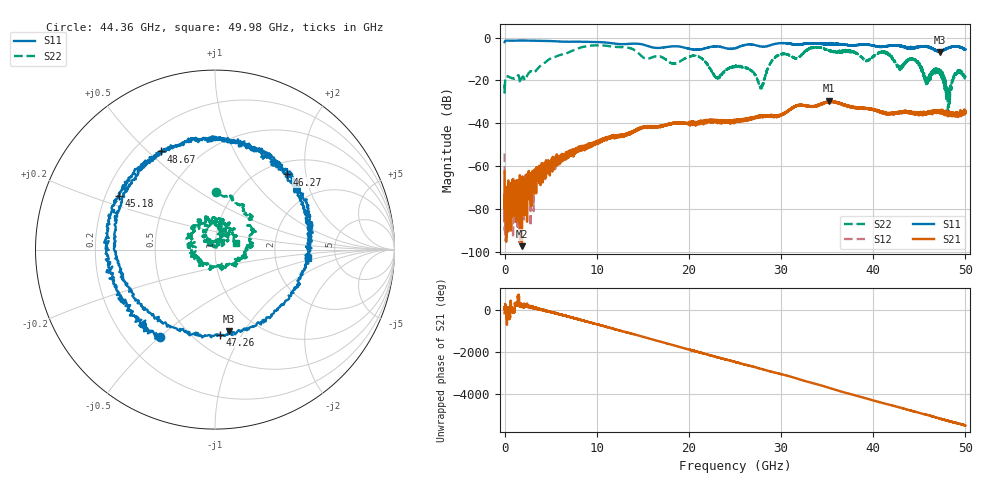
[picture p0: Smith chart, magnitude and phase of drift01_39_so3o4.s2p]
!Created with skrf (http://scikit-rf.org).
# Hz S RI R 50.0
!freq ReS11 ImS11 ReS21 ImS21 ReS12 ImS12 ReS22 ImS22
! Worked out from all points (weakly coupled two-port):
!   10001 points, 300 kHz to 50 GHz, reference 50 ohm
!   highest |S21| = -29.35 dB at 35.23 GHz (marker M1); lowest = -97.1 dB at 1.88 GHz (marker M2)
!   lowest |S11| = -6.7 dB at 47.23 GHz (marker M3), VSWR 2.72, Z = 37 - j43 ohm
!   |S11| at or under -10 dB: nowhere
!   |S22| runs from -37.1 to -3.6 dB; largest |S21 - S12| = 0.0049
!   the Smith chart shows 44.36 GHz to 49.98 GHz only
!   S11 on the Smith chart (normalised r, x): 44.36 GHz: 0.35, -0.50; 45.18 GHz: 0.25, +0.24; 46.27 GHz: 1.24, +1.57; 47.26 GHz: 0.66, -0.81; 48.67 GHz: 0.31, +0.55; 49.98 GHz: 3.09, -0.39
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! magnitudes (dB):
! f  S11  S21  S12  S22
! 300 kHz  -2.1  -62.3  -53.9  -21.9
! 255.3 MHz  -1.4  -81.5  -77.4  -18.0
! 1.88 GHz  -1.4  -97.1  -72.9  -18.7
! 8.335 GHz  -2.0  -50.7  -50.9  -4.6
! 16.67 GHz  -4.8  -41.6  -41.4  -8.7
! 20.96 GHz  -5.6  -40.0  -39.5  -8.7
! 23.07 GHz  -4.1  -39.3  -39.3  -18.6
! 25 GHz  -5.0  -38.4  -39.0  -13.6
! 27.84 GHz  -4.1  -36.8  -36.6  -22.9
! 29.47 GHz  -2.9  -36.6  -36.5  -8.8
! 33.34 GHz  -2.6  -32.1  -32.0  -4.7
! 35.23 GHz  -2.7  -29.3  -29.8  -6.0
! 41.67 GHz  -3.9  -35.2  -35.3  -7.6
! 44.36 GHz  -4.8  -35.1  -34.9  -9.8
! 45.18 GHz  -4.2  -35.6  -35.3  -13.6
! 46.27 GHz  -4.7  -34.1  -34.4  -16.7
! 47.23 GHz  -6.7  -34.6  -34.6  -17.0
! 47.26 GHz  -6.5  -34.5  -34.6  -17.0
! 48.13 GHz  -4.9  -35.6  -35.4  -32.4
! 48.67 GHz  -4.1  -36.4  -36.0  -19.5
! 49.98 GHz  -5.7  -35.2  -35.1  -18.2
! 50 GHz  -5.5  -34.1  -35.4  -18.2
